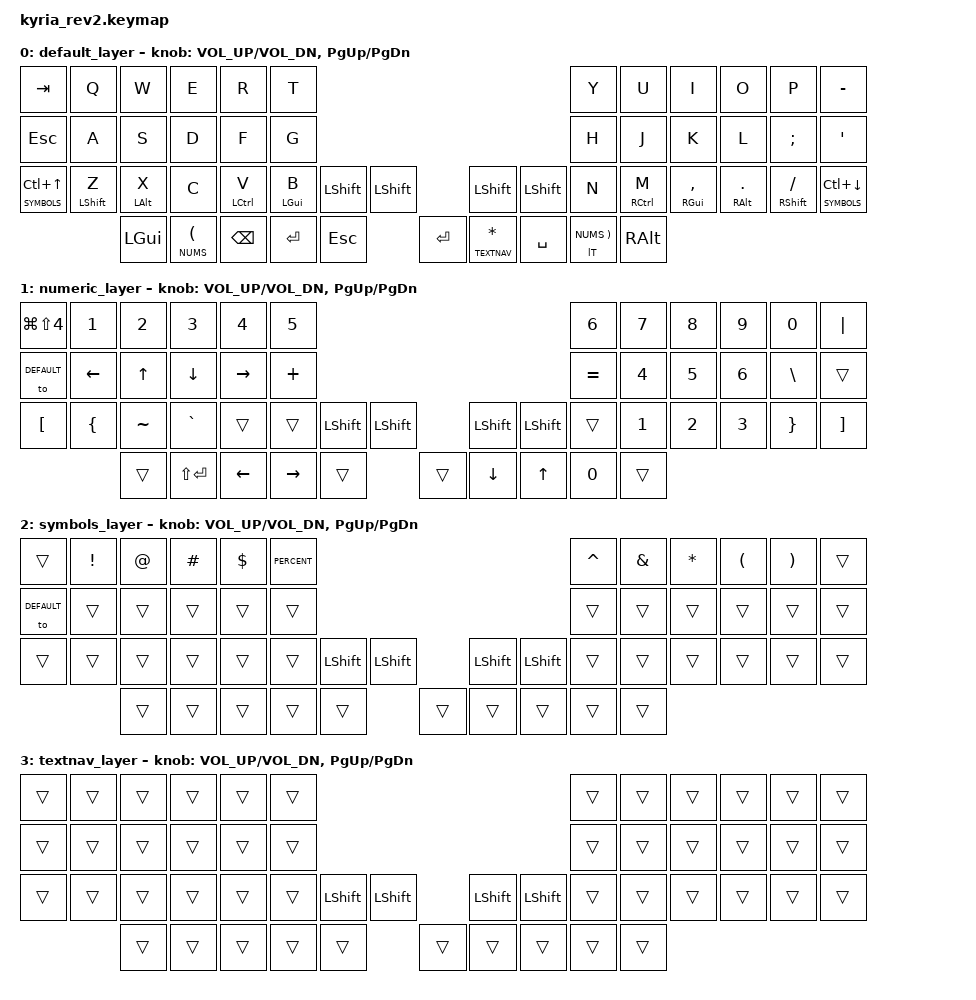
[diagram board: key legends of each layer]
/*
 * Copyright (c) 2020 The ZMK Contributors
 *
 * SPDX-License-Identifier: MIT
 */

#include <behaviors.dtsi>
#include <dt-bindings/zmk/keys.h>

#define DEFAULT 0
#define NUMS   1
#define SYMBOLS   2
#define TEXTNAV   3


// transparent template
//			bindings = <
//	&trans   &trans &trans &trans &trans &trans                                                &trans   &trans &trans &trans &trans &trans 
//	&trans   &trans &trans &trans &trans &trans                                               &trans   &trans &trans &trans &trans &trans 
//	&trans   &trans &trans &trans &trans &trans &kp LSHFT &kp LSHFT        &kp LSHFT &kp LSHFT &trans   &trans &trans &trans &trans &trans 
//	                 &trans &trans &trans &trans &trans        &trans &trans &trans &trans &trans
//			>;

/ {
	keymap {
		compatible = "zmk,keymap";

		default_layer {
// ---------------------------------------------------------------------------------------------------------------------------------
// |  TAB  |  Q  |  W  |  E   |  R   |  T   |                                          |  Y   |  U    |  I    |  O   |   P   |   -  |
// |  ESC  |  A  |  S  |  D   |  F   |  G   |                                          |  H   |  J    |  K    |  L   |   ;   |   '  |
// | LAYER |  Z  |  X  |  C   |  V   |  B   | L SHIFT | L SHIFT |  | L SHIFT | L SHIFT |  N   |  M    |  ,    |  .   |   /   | LAYER |
//                     | GUI  | LAYER()  | BSPC  |  ENTER  |   ESC   |  |   RET   |  LAYER  | SPACE  | LAYER  | R-ALT |
			bindings = <
	&kp TAB   &kp Q &kp W &kp E &kp R &kp T                                                &kp Y &kp U  &kp I     &kp O   &kp P    &kp MINUS
	&kp ESC   &kp A &kp S &kp D &kp F &kp G                                                &kp H &kp J  &kp K     &kp L   &kp SEMI &kp SQT
	&lt SYMBOLS LC(UP) &mt LSHFT Z &mt LALT X &kp C &mt LCTRL V &mt LGUI B &kp LSHFT &kp LSHFT        &kp LSHFT &kp LSHFT &kp N &mt RCTRL M  &mt RGUI COMMA &mt RALT DOT &mt RSHFT FSLH &lt SYMBOLS LC(DOWN)
	                 &kp LGUI &lt NUMS LPAR &kp BSPC &kp ENTER &kp ESC        &kp RET  &lt TEXTNAV STAR  &kp SPACE &lT NUMS RPAR &kp RALT
			>;

			sensor-bindings = <&inc_dec_kp C_VOL_UP C_VOL_DN &inc_dec_kp PG_UP PG_DN>;
		};

		numeric_layer {
			bindings = <
	&kp LG(LS(N4))   &kp N1 &kp N2 &kp N3 &kp N4 &kp N5                                                          &kp N6 &kp N7 &kp N8 &kp N9 &kp N0  &kp PIPE 
	&to DEFAULT   &kp LEFT &kp UP &kp DOWN &kp RIGHT &kp PLUS                                               &kp EQUAL   &kp N4 &kp N5 &kp N6 &kp BSLH &trans 
	&kp LBKT   &kp LBRC &kp TILDE &kp GRAVE &trans &trans &kp LSHFT &kp LSHFT        &kp LSHFT &kp LSHFT &trans   &kp N1 &kp N2 &kp N3 &kp RBRC &kp RBKT 
	                 &trans &kp LS(ENTER) &kp LEFT &kp RIGHT &trans        &trans &kp DOWN &kp UP &kp N0 &trans
			>;

			sensor-bindings = <&inc_dec_kp C_VOL_UP C_VOL_DN &inc_dec_kp PG_UP PG_DN>;
		};

		symbols_layer {
			bindings = <
	&trans   &kp EXCL &kp AT &kp HASH &kp DOLLAR &PERCENT               &kp CARET   &kp AMPS &kp STAR &kp LPAR &kp RPAR &trans 
	&to DEFAULT   &trans &trans &trans &trans &trans                                               &trans   &trans &trans &trans &trans &trans 
	&trans   &trans &trans &trans &trans &trans &kp LSHFT &kp LSHFT        &kp LSHFT &kp LSHFT &trans   &trans &trans &trans &trans &trans 
	                 &trans &trans &trans &trans &trans        &trans &trans &trans &trans &trans
			>;

			sensor-bindings = <&inc_dec_kp C_VOL_UP C_VOL_DN &inc_dec_kp PG_UP PG_DN>;
		};

		textnav_layer {
// ---------------------------------------------------------------------------------------------------------------------------------
// |  ESC  |  Q  |  W  |  E   |  R   |  T   |                                          |  Y   |  U    |  I    |  O   |   P   |   \  |
// |  TAB  |  A  |  S  |  D   |  F   |  G   |                                          |  H   |  J    |  K    |  L   |   ;   |   '  |
// | SHIFT |  Z  |  X  |  C   |  V   |  B   | L SHIFT | L SHIFT |  | L SHIFT | L SHIFT |  N   |  M    |  ,    |  .   |   /   | CTRL |
//                     | GUI  | DEL  | RET  |  SPACE  |   ESC   |  |   RET   |  SPACE  | TAB  | BSPC  | R-ALT |
			bindings = <
	&trans   &trans &trans &trans &trans &trans                                                &trans   &trans &trans &trans &trans &trans 
	&trans   &trans &trans &trans &trans &trans                                               &trans   &trans &trans &trans &trans &trans 
	&trans   &trans &trans &trans &trans &trans &kp LSHFT &kp LSHFT        &kp LSHFT &kp LSHFT &trans   &trans &trans &trans &trans &trans 
	                 &trans &trans &trans &trans &trans        &trans &trans &trans &trans &trans
			>;

			sensor-bindings = <&inc_dec_kp C_VOL_UP C_VOL_DN &inc_dec_kp PG_UP PG_DN>;
		};
	};

	};
};
